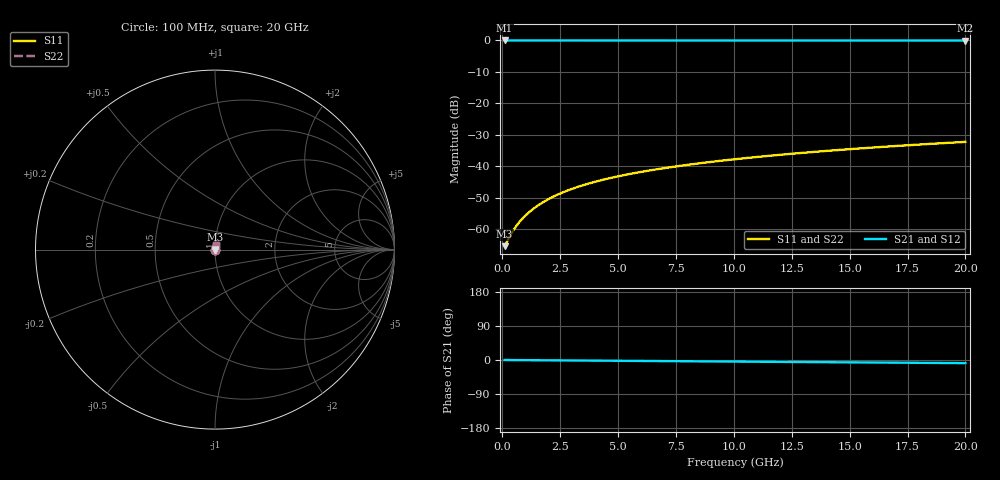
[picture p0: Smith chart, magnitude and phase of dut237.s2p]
! Touchstone file exported from HFSS 2026.1.0
!  File:  C:/ffzhzh/LocalFiles/Ansys_Project_Files/temp_train_TSV_237_1782992514_45328.aedt
!  Generated:  07:43:35 PM Jul  2, 2026
!  Design:  TSV
!  Project:  temp_train_TSV_237_1782992514_45328
! Variables:
!  h_bsmrdl = 2um
!  h_ox = 20um
!  h_rdl = 5um
!  h_sub = 86.54um
!  h_tmrdl = 5um
!  h_tsv = 86.54um
!  h_via = 3um
!  l_bsmrdl = 300um
!  l_sub = 409.16um
!  l_tmrdl = 200um
!  m_sub = 200um
!  pitch = 23.55um
!  r_tsv = 4.58um
!  s_tmrdl = 10um
!  w_bsmrdl = 18um
!  w_sub = 500um
!  w_tmrdl = 12um
!  x_tsv_center1 = 206um
!  x_tsv_center2 = 524um
!  x_tsv_center3 = 736um
!  x_tsv_center4 = 1054um
!  x_tsv_center5 = 1266um
!  x_tsv_center6 = 1584um
# GHz S MA R 50.000000
! Terminal data exported
! Port[1] = TSV1_1_T1
! Port[2] = TSV1_1_T2
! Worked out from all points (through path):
!   200 points, 100 MHz to 20 GHz, reference 50 ohm
!   highest |S21| = 0.00 dB at 100 MHz (marker M1); lowest = 0.0 dB at 20 GHz (marker M2)
!   group delay of S21, straight-line fit = 1.14 ps
!   lowest |S11| = -65.4 dB at 100 MHz (marker M3), VSWR 1.00, Z = 50.1 + j0.0173 ohm
!   |S11| at or under -10 dB: start of sweep to end of sweep
!   |S22| runs from -65.4 to -32.3 dB; largest |S21 - S12| = 3.3e-15
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0.1  0.0005342 18.9  0.9995 -0.0  0.9995 -0.0  0.0005342 18.9
! Gamma 0 0 0 0
! Port Impedance 50 0 50 0
0.4  0.0008595 48.9  0.9994 -0.2  0.9994 -0.2  0.0008595 48.9
0.5  0.0009857 53.6  0.9994 -0.2  0.9994 -0.2  0.0009857 53.6
0.6  0.001114 57.2  0.9994 -0.3  0.9994 -0.3  0.001114 57.2
0.7  0.001243 60.1  0.9994 -0.3  0.9994 -0.3  0.001243 60.1
0.9  0.001506 64.5  0.9994 -0.4  0.9994 -0.4  0.001506 64.5
1.1  0.001773 67.5  0.9993 -0.5  0.9993 -0.5  0.001773 67.5
1.3  0.002043 69.8  0.9993 -0.6  0.9993 -0.6  0.002043 69.8
1.7  0.002589 72.7  0.9992 -0.7  0.9992 -0.7  0.002589 72.7
2.2  0.003271 74.7  0.9992 -0.9  0.9992 -0.9  0.003271 74.7
2.8  0.004078 75.9  0.9991 -1.2  0.9991 -1.2  0.004078 75.9
3.5  0.004998 76.7  0.999 -1.5  0.999 -1.5  0.004998 76.7
4.2  0.005896 77.0  0.9988 -1.8  0.9988 -1.8  0.005896 77.0
5  0.006897 77.3  0.9987 -2.1  0.9987 -2.1  0.006897 77.3
5.9  0.007999 77.4  0.9986 -2.5  0.9986 -2.5  0.007999 77.4
6.8  0.009082 77.5  0.9984 -2.8  0.9984 -2.8  0.009082 77.5
8.3  0.01086 77.6  0.9982 -3.5  0.9982 -3.5  0.01086 77.6
10.1  0.01297 77.5  0.9981 -4.2  0.9981 -4.2  0.01297 77.5
11.7  0.01484 77.4  0.9979 -4.8  0.9979 -4.8  0.01484 77.4
13.4  0.01681 77.2  0.9977 -5.5  0.9977 -5.5  0.01681 77.2
16.7  0.0206 76.5  0.9974 -6.9  0.9974 -6.9  0.0206 76.5
20  0.02435 75.6  0.9971 -8.2  0.9971 -8.2  0.02435 75.6
